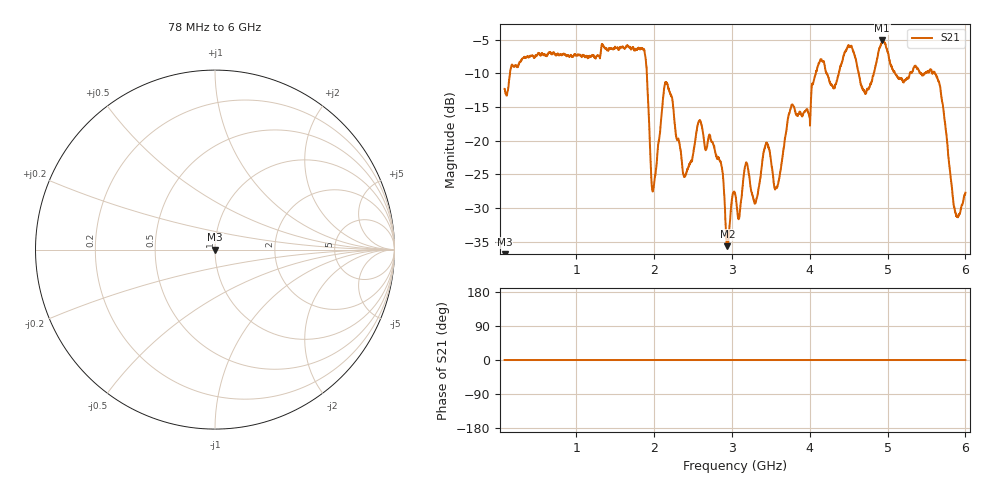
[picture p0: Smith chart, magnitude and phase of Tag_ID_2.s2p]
!	Parâmetros S - Tag_ID_2
#	Hz	S	MA	R	50
!	Freq	magS11	angS11	magS21	angS21	magS12	angS12	magS22	angS22
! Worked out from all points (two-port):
!   5923 points, 78 MHz to 6 GHz, reference 50 ohm
!   highest |S21| = -5.13 dB at 4.932 GHz (marker M1); lowest = -35.6 dB at 2.942 GHz (marker M2)
!   |S21| within 3 dB of the highest: 287.2 MHz to 1.894 GHz (1.606 GHz wide, 147 % of centre); 4.421 GHz to 4.596 GHz (174.5 MHz wide, 3.87 % of centre) (the widest 2 of 4)
!   lowest |S11| = - dB at 78 MHz (marker M3), VSWR 1.00, Z = 50 + j0 ohm
!   |S11| at or under -10 dB: start of sweep to end of sweep
!   S12 and S22 are empty: the file has one direction only
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7.8e7  0 0.0  0.2424 0.0  0 0.0  0 0.0
1.065e9  0 0.0  0.4216 0.0  0 0.0  0 0.0
1.852e9  0 0.0  0.4777 0.0  0 0.0  0 0.0
1.977e9  0 0.0  0.04283 0.0  0 0.0  0 0.0
2.052e9  0 0.0  0.09428 0.0  0 0.0  0 0.0
2.153e9  0 0.0  0.2712 0.0  0 0.0  0 0.0
2.391e9  0 0.0  0.05433 0.0  0 0.0  0 0.0
2.592e9  0 0.0  0.1408 0.0  0 0.0  0 0.0
2.856e9  0 0.0  0.06935 0.0  0 0.0  0 0.0
2.942e9  0 0.0  0.01654 0.0  0 0.0  0 0.0
3.039e9  0 0.0  0.04096 0.0  0 0.0  0 0.0
3.306e9  0 0.0  0.03496 0.0  0 0.0  0 0.0
3.445e9  0 0.0  0.09703 0.0  0 0.0  0 0.0
3.573e9  0 0.0  0.04489 0.0  0 0.0  0 0.0
3.753e9  0 0.0  0.1721 0.0  0 0.0  0 0.0
4.026e9  0 0.0  0.2625 0.0  0 0.0  0 0.0
4.732e9  0 0.0  0.2374 0.0  0 0.0  0 0.0
4.932e9  0 0.0  0.5538 0.0  0 0.0  0 0.0
5.013e9  0 0.0  0.432 0.0  0 0.0  0 0.0
5.62e9  0 0.0  0.3102 0.0  0 0.0  0 0.0
5.871e9  0 0.0  0.02921 0.0  0 0.0  0 0.0
6e9  0 0.0  0.04121 0.0  0 0.0  0 0.0
